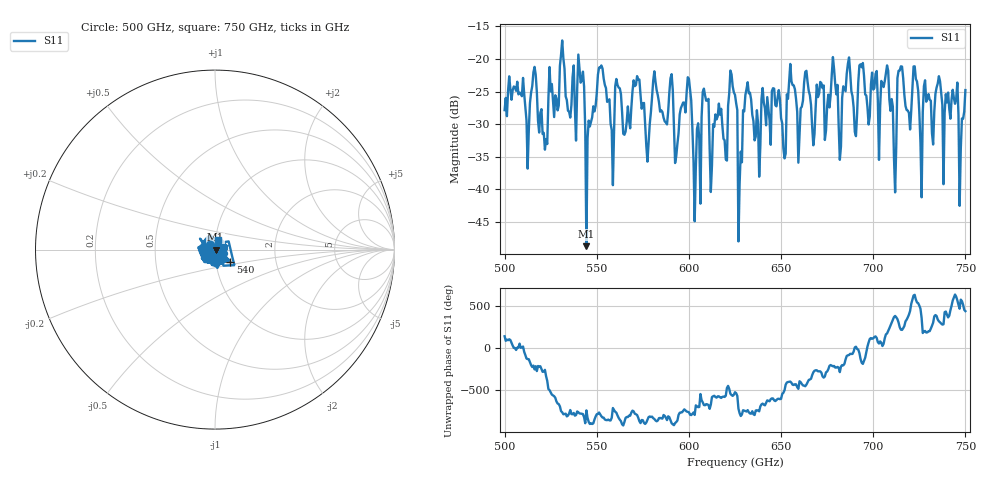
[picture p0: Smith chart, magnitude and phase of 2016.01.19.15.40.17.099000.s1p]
!Created with skrf (http://scikit-rf.org).
# GHz S RI R 50.0
!freq ReS11 ImS11
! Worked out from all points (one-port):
!   401 points, 500 GHz to 750 GHz, reference 50 ohm
!   lowest |S11| = -48.7 dB at 544.4 GHz (marker M1), VSWR 1.01, Z = 50.4 - j0.105 ohm
!   |S11| at or under -10 dB: start of sweep to end of sweep
!   S11 on the Smith chart (normalised r, x): 500 GHz: 0.94, +0.05; 540 GHz: 1.17, -0.16; 750 GHz: 1.02, +0.11
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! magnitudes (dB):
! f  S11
! 500 GHz  -27.8
! 516.2 GHz  -21.2
! 521.9 GHz  -33.9
! 531.2 GHz  -17.2
! 540 GHz  -19.3
! 544.4 GHz  -48.7
! 551.9 GHz  -21.3
! 558.1 GHz  -30.9
! 562.5 GHz  -24.5
! 572.5 GHz  -23.2
! 577.5 GHz  -35.7
! 590 GHz  -22.9
! 593.8 GHz  -33.0
! 600 GHz  -23.0
! 603.1 GHz  -44.9
! 608.8 GHz  -25.6
! 612.5 GHz  -36.3
! 625 GHz  -25.5
! 628.1 GHz  -34.2
! 631.9 GHz  -23.6
! 651.2 GHz  -33.7
! 656.2 GHz  -24.0
! 667.5 GHz  -33.2
! 678.8 GHz  -21.5
! 682.5 GHz  -33.4
! 687.5 GHz  -22.1
! 718.8 GHz  -27.9
! 750 GHz  -24.8
